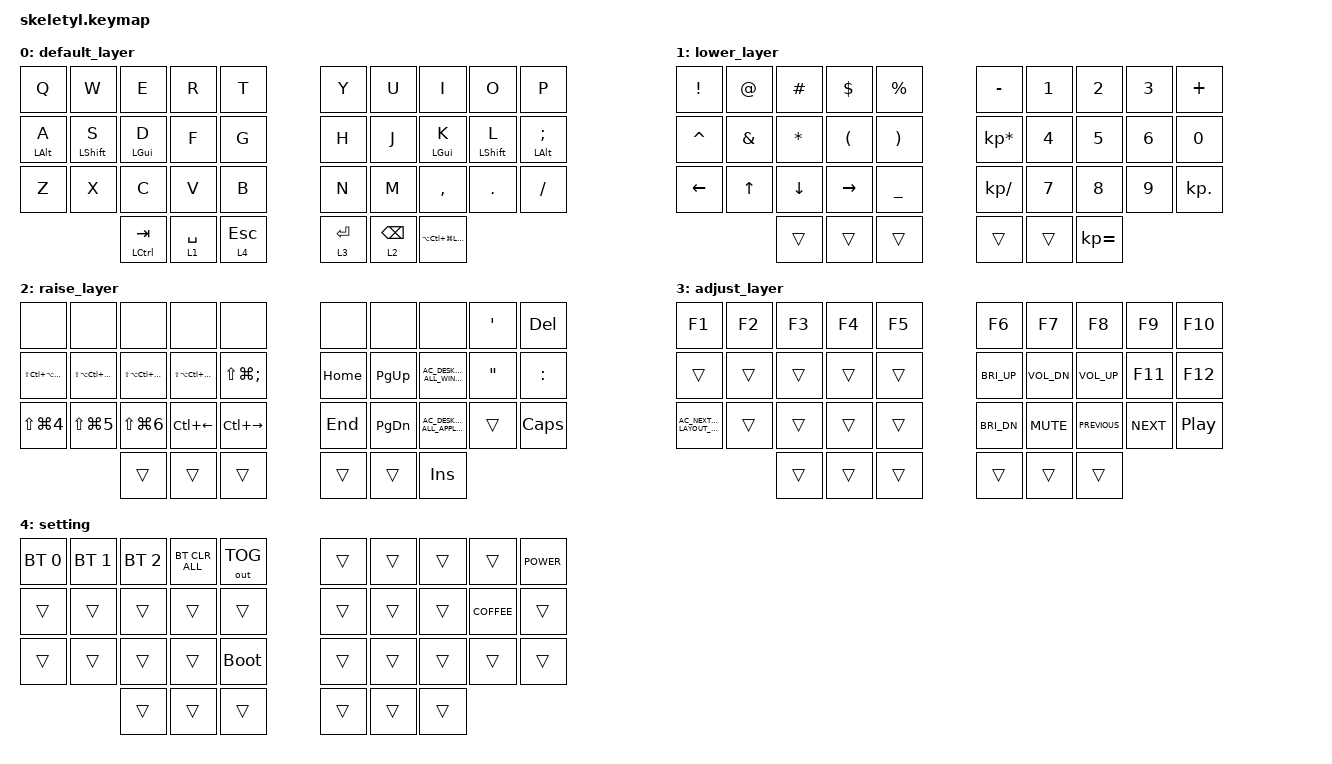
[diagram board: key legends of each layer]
/*
 * Copyright (c) 2020 The ZMK Contributors
 *
 * SPDX-License-Identifier: MIT
 */

#include <behaviors.dtsi>
#include <dt-bindings/zmk/bt.h>
#include <dt-bindings/zmk/keys.h>
#include <dt-bindings/zmk/outputs.h>

&mt {
    tapping-term-ms = <200>;
    flavor = "tap-preferred";
};

/ {
    combos {
        compatible = "zmk,combos";

        left_bkt {
            bindings = <&kp LBKT>;
            key-positions = <2 3>;
            timeout-ms = <50>;
        };

        right_bkt {
            bindings = <&kp RBKT>;
            key-positions = <6 7>;
            timeout-ms = <50>;
        };

        left_par {
            bindings = <&kp LEFT_PARENTHESIS>;
            key-positions = <12 13>;
            timeout-ms = <50>;
        };

        right_par {
            bindings = <&kp RIGHT_PARENTHESIS>;
            key-positions = <16 17>;
            timeout-ms = <50>;
        };

        left_brace {
            bindings = <&kp LEFT_BRACE>;
            key-positions = <23 22>;
            timeout-ms = <50>;
        };

        right_brace {
            bindings = <&kp RIGHT_BRACE>;
            key-positions = <26 27>;
            timeout-ms = <50>;
        };

        bac {
            bindings = <&kp BACKSLASH>;
            key-positions = <4 5>;
        };

        pipe {
            bindings = <&kp PIPE>;
            key-positions = <14 15>;
        };

        underscore {
            bindings = <&kp UNDER>;
            key-positions = <10 11>;
            timeout-ms = <50>;
        };

        tilde {
            bindings = <&kp TILDE>;
            key-positions = <8 9>;
        };

        grave {
            bindings = <&kp GRAVE>;
            key-positions = <18 19>;
        };

        shift+cmd {
            bindings = <&kp LG(LSHIFT)>;
            key-positions = <20 21>;
        };

        rctl {
            bindings = <&kp RCTRL>;
            key-positions = <11 12 13>;
        };
    };

    behaviors {
        hm: homerow_mods {
            compatible = "zmk,behavior-hold-tap";
            label = "HOMEROW_MODS";
            #binding-cells = <2>;
            tapping-term-ms = <200>;
            quick_tap_ms = <0>;
            flavor = "tap-preferred";
            bindings = <&kp>, <&kp>;

            quick-tap-ms = <180>;
            global-quick-tap;
        };

        ltq: ltq {
            compatible = "zmk,behavior-hold-tap";
            label = "LTQ";
            bindings = <&mo>, <&kp>;

            #binding-cells = <2>;
            tapping-term-ms = <600>;
            global-quick-tap;
            quick-tap-ms = <400>;
        };
    };

    keymap {
        compatible = "zmk,keymap";

        default_layer {
            bindings = <
&kp Q                          &kp W                          &kp E                         &kp R  &kp T        &kp Y                                         &kp U  &kp I           &kp O         &kp P
&hm LEFT_ALT A                 &hm LEFT_SHIFT S               &hm LEFT_GUI D                &kp F  &kp G        &kp H                                         &kp J  &hm LEFT_GUI K  &hm LSHIFT L  &hm LEFT_ALT SEMI
&kp Z                          &kp X                          &kp C                         &kp V  &kp B        &kp N                                         &kp M  &kp COMMA       &kp PERIOD    &kp FSLH
                &mt LCTRL TAB                    &lt 1 SPACE                  &lt 4 ESCAPE         &lt 3 ENTER  &ltq 2 BACKSPACE  &kp LA(LC(LG(LEFT_SHIFT)))
            >;
        };

        lower_layer {
            bindings = <
&kp EXCLAMATION          &kp AT_SIGN            &kp HASH              &kp DOLLAR            &kp PERCENT            &kp MINUS                      &kp NUMBER_1  &kp NUMBER_2  &kp NUMBER_3  &kp PLUS
&kp CARET                &kp AMPERSAND          &kp ASTERISK          &kp LEFT_PARENTHESIS  &kp RIGHT_PARENTHESIS  &kp KP_MULTIPLY                &kp NUMBER_4  &kp N5        &kp NUMBER_6  &kp N0
&kp LEFT                 &kp UP_ARROW           &kp DOWN              &kp RIGHT             &kp UNDERSCORE         &kp KP_DIVIDE                  &kp N7        &kp N8        &kp N9        &kp KP_DOT
                 &trans                 &trans                &trans                        &trans                 &trans           &kp KP_EQUAL
            >;
        };

        raise_layer {
            bindings = <
&none                                   &none                                 &none                             &none                      &none                  &none                 &none          &none                                   &kp SINGLE_QUOTE   &kp DELETE
&kp LS(LC(LA(LG(LEFT_ARROW))))          &kp LS(LA(LC(LG(UP_ARROW))))          &kp LS(LA(LC(LG(DOWN))))          &kp LS(LA(LC(LG(RIGHT))))  &kp LS(LG(SEMICOLON))  &kp HOME              &kp PG_UP      &kp C_AC_DESKTOP_SHOW_ALL_WINDOWS       &kp DOUBLE_QUOTES  &kp COLON
&kp LS(LG(NUMBER_4))                    &kp LS(LG(N5))                        &kp LS(LG(NUMBER_6))              &kp LC(LEFT)               &kp LC(RIGHT)          &kp END               &kp PAGE_DOWN  &kp C_AC_DESKTOP_SHOW_ALL_APPLICATIONS  &trans             &kp CAPSLOCK
                                &trans                                &trans                            &trans                             &trans                 &trans    &kp INSERT
            >;
        };

        adjust_layer {
            bindings = <
&kp F1                                        &kp F2          &kp F3          &kp F4  &kp F5  &kp F6                &kp F7        &kp F8           &kp F9      &kp F10
&trans                                        &trans          &trans          &trans  &trans  &kp C_BRI_UP          &kp C_VOL_DN  &kp C_VOLUME_UP  &kp F11     &kp F12
&kp C_AC_NEXT_KEYBOARD_LAYOUT_SELECT          &trans          &trans          &trans  &trans  &kp C_BRI_DN          &kp C_MUTE    &kp C_PREVIOUS   &kp C_NEXT  &kp C_PLAY_PAUSE
                                      &trans          &trans          &trans          &trans  &trans        &trans
            >;
        };

        setting {
            bindings = <
&bt BT_SEL 0          &bt BT_SEL 1          &bt BT_SEL 2          &bt BT_CLR_ALL  &out OUT_TOG  &trans          &trans  &trans  &trans        &kp K_POWER
&trans                &trans                &trans                &trans          &trans        &trans          &trans  &trans  &kp K_COFFEE  &trans
&trans                &trans                &trans                &trans          &bootloader   &trans          &trans  &trans  &trans        &trans
              &trans                &trans                &trans                  &trans        &trans  &trans
            >;
        };
    };
};
